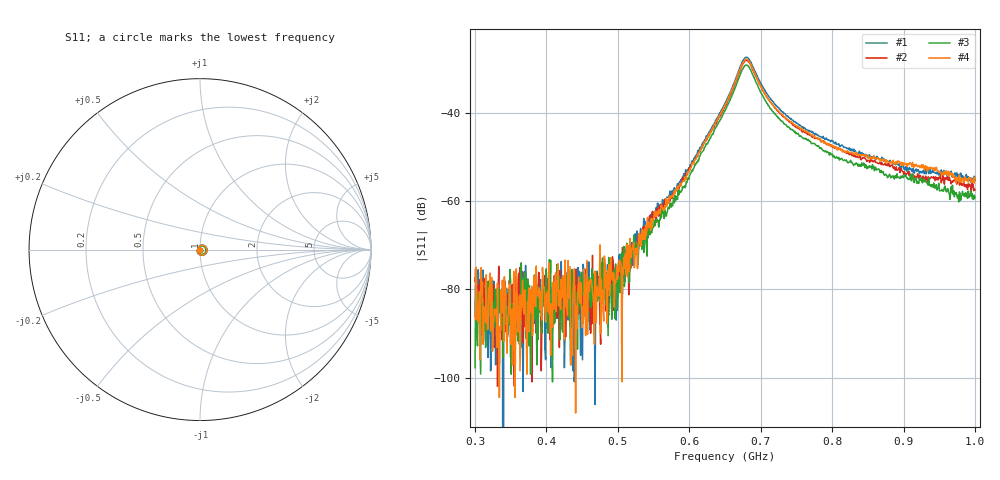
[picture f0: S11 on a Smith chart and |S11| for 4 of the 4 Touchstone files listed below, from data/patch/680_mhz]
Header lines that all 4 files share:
! Touchstone 1.1 file saved by VNA.EXE V1.65 (www.ke5fx.com/gpib/readme.htm)
!  Source: HEWLETT PACKARD,8753D,0,6.14
!  Min freq: 3.000000E+008 Hz
!  Max freq: 1.000000E+009 Hz
!  Points: 801
!  Params: S21
# GHZ S MA R 50
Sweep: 300 MHz to 1 GHz
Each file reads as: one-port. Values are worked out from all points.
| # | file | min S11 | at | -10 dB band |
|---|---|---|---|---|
| 1 | 0.S1P | -106.0 dB | 468 MHz | over 700 MHz wide |
| 2 | 20.S1P | -101.9 dB | 331.5 MHz | over 700 MHz wide |
| 3 | 320.S1P | -100.9 dB | 408.5 MHz | over 700 MHz wide |
| 4 | 340.S1P | -108.0 dB | 440.9 MHz | over 700 MHz wide |
